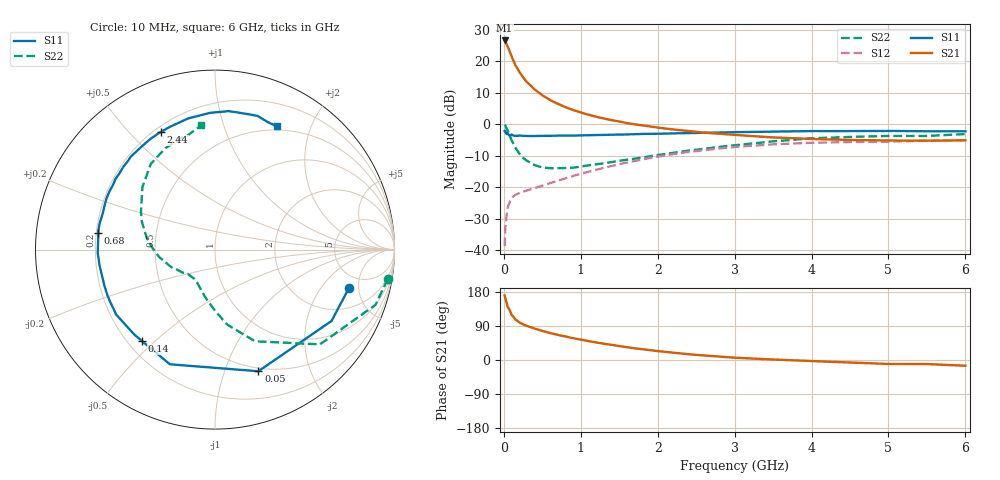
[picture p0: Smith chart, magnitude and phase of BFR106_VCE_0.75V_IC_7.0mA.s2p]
! Infineon Technologies  Discrete & RF Semiconductors
! BFR106
! VCE = 0.75 V,  IC =  7.0 mA
! Common Emitter S-Parameters:  Nov 2015
# GHz  S  MA  R  50
!  f  S11  S21  S12  S22
! GHz  MAG  ANG  MAG  ANG  MAG  ANG  MAG  ANG
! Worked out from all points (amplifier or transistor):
!   210 points, 10 MHz to 6 GHz, reference 50 ohm
!   highest |S21| = 26.5 dB at 10 MHz (marker M1)
!   |S21| within 3 dB of that: start of sweep to 66.93 MHz
!   unconditionally stable (mu >= 1): 515.8 MHz to end of sweep
!   at 185 MHz: K = 0.48, MSG = 19.7 dB, |S12| = -22.0 dB
!   at 1.52 GHz: K = 1.15, MAG = 4.4 dB, |S12| = -12.6 dB
!   at 6 GHz: K = 1.03, MAG = -1.1 dB, |S12| = -5.0 dB
!   S11 on the Smith chart (normalised r, x): 10 MHz: 3.61, -3.89; 50 MHz: 0.47, -1.31; 140 MHz: 0.26, -0.45; 680 MHz: 0.21, +0.07; 2.44 GHz: 0.23, +0.62; 6 GHz: 0.45, +1.52
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0.01  0.7766 -16.0  21.2 170.2  0.0116 83.5  0.9759 -9.7
0.02  0.7613 -31.5  20.44 162.1  0.0229 74.7  0.9458 -19.0
0.05  0.7195 -70.4  16.93 140.1  0.048 57.2  0.7878 -42.1
0.1  0.6866 -111.5  11.83 119.1  0.0677 41.9  0.5576 -66.4
0.14  0.6519 -128.8  9.214 109.9  0.074 37.3  0.4479 -77.2
0.15  0.653 -133.3  8.612 106.7  0.0757 36.3  0.4237 -80.7
0.2  0.6589 -146.6  6.761 99.4  0.0805 35.1  0.3429 -89.6
0.26  0.6511 -156.9  5.308 92.9  0.0853 35.0  0.2849 -98.7
0.3  0.6481 -161.9  4.623 89.5  0.0886 35.9  0.2625 -103.2
0.4  0.649 -171.9  3.542 82.6  0.0966 38.6  0.224 -112.9
0.5  0.6538 -178.3  2.859 76.7  0.1053 41.7  0.2052 -120.0
0.6  0.6525 175.7  2.411 71.2  0.1158 44.2  0.1998 -124.8
0.68  0.6569 171.8  2.162 67.4  0.1241 46.0  0.2 -128.7
0.8  0.659 166.7  1.854 62.0  0.1377 47.8  0.2012 -134.4
1.02  0.6633 157.7  1.501 53.1  0.1654 50.2  0.2141 -142.0
1.4  0.6803 144.5  1.156 40.0  0.2168 50.4  0.2499 -154.7
2.02  0.7041 126.0  0.873 23.2  0.3075 44.8  0.325 -175.7
2.44  0.7215 114.7  0.769 14.5  0.3668 38.8  0.3849 170.3
3.1  0.7476 99.6  0.66 5.2  0.4413 27.8  0.4745 150.0
4.1  0.7747 83.0  0.576 -3.5  0.5077 11.6  0.6014 124.6
5.1  0.7787 71.4  0.548 -10.5  0.5297 -0.8  0.6492 106.2
6  0.769 63.5  0.553 -15.1  0.5592 -9.7  0.696 96.4
